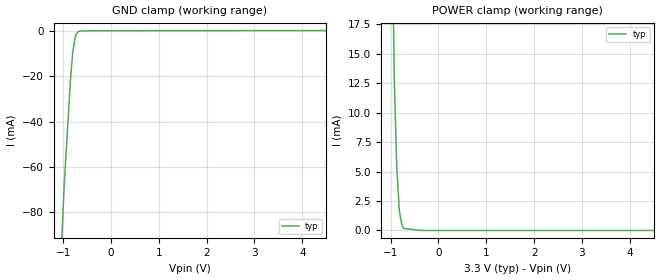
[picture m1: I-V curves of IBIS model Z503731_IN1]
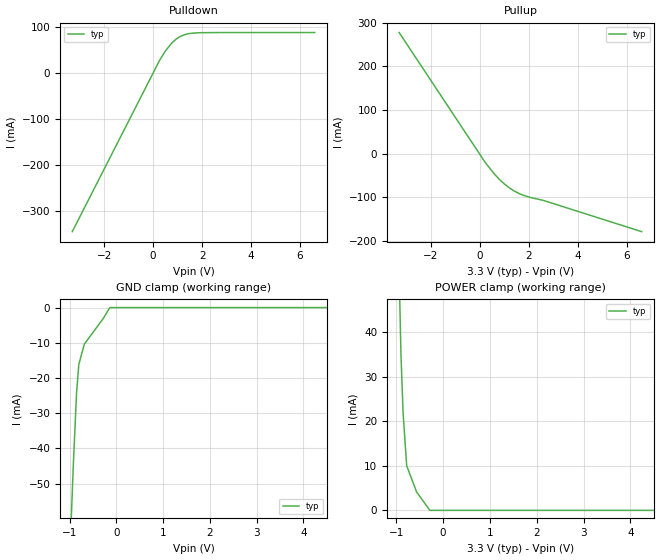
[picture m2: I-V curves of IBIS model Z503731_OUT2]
| YOU ARE ONLY AUTHORIZED TO USE THIS SOFTWARE
| ACCORDING TO LICENSOR'S LICENSE RESTRICTIONS.
[IBIS Ver] 3.1
[File Name] mc74ac14n_33.ibs
[File Rev] 2.0
[Source] Measured and created by ICX Technology
[Date] Friday 7/14/00 9:07:58 AM
[Copyright]
| (C) COPYRIGHT 1993-2000
| MENTOR GRAPHICS CORPORATION
| ICX STANDARD LIBRARY, ICX PROJECT MODELING,
| ICX CUSTOM MODELING, ICX VENDOR MODEL
| ALL RIGHTS RESERVED.
| THE FOLLOWING ARE TRADEMARKS OR SERVICE MARKS OF
| MENTOR GRAPHICS CORPORATION:ICX (R), ICX STANDARD
| LIBRARY(R), ICX PROJECT MODELING(R), ICX CUSTOM
| MODELING(R), qualityIBIS(TM), MODELVIEWER(TM),
| AND MODELEDITOR(TM)
| ALL COPIES OF SOFTWARE, INCLUDING BUT NOT LIMITED TO
| ANY MODIFICATIONS, ENHANCEMENTS OR DERIVATIVE WORKS,
| MUST CONTAIN ALL MENTOR GRAPHICS CORPORATION'S
| NOTICES AND LEGENDS, INCLUDING THOSE EMBEDDED IN
| SOFTWARE AND THOSE AFFIXED TO SOFTWARE MEDIUM
| AND CONTAINER, AS RECEIVED FROM MENTOR GRAPHICS
| CORPORATION.
|  ZAP Model Builder 2.7
[Component] MC74AC14N_33
[Manufacturer] OnSemiconductor
[Package]
| variable   typ   min   max
R_pkg  .21ohms NA NA
L_pkg  4.543nH NA NA
C_pkg  1.059pF NA NA
[Pin] signal_name  model_name  R_pin  L_pin C_pin
1 1A Z503731_IN1 .22 6.757n 1.432p
2 1Y Z503731_OUT2 .212 4.757n 1.142p
3 2A Z503731_IN1 .204 3.257n .852p
4 2Y Z503731_OUT2 .196 2.257n .562p
5 3A Z503731_IN1 .204 3.257n .852p
6 3Y Z503731_OUT2 .212 4.757n 1.142p
7 GND GND .22 6.757n 1.432p
8 4Y Z503731_OUT2 .22 6.757n 1.432p
9 4A Z503731_IN1 .212 4.757n 1.142p
10 5Y Z503731_OUT2 .204 3.257n .852p
11 5A Z503731_IN1 .196 2.257n .562p
12 6Y Z503731_OUT2 .204 3.257n .852p
13 6A Z503731_IN1 .212 4.757n 1.142p
14 VCC POWER .22 6.757n 1.432p
| Models and submodels in the file (2): Z503731_IN1 (Input), Z503731_OUT2 (Output)
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| (C) COPYRIGHT 1993-2000
| MENTOR GRAPHICS CORPORATION
| ICX STANDARD LIBRARY, ICX PROJECT MODELING,
| ICX CUSTOM MODELING, ICX VENDOR MODEL
| ALL RIGHTS RESERVED.
| THE FOLLOWING ARE TRADEMARKS OR SERVICE MARKS OF
| MENTOR GRAPHICS CORPORATION:ICX (R), ICX STANDARD
| LIBRARY(R), ICX PROJECT MODELING(R), ICX CUSTOM
| MODELING(R), qualityIBIS(TM), MODELVIEWER(TM),
| AND MODELEDITOR(TM)
| ALL COPIES OF SOFTWARE, INCLUDING BUT NOT LIMITED TO
| ANY MODIFICATIONS, ENHANCEMENTS OR DERIVATIVE WORKS,
| MUST CONTAIN ALL MENTOR GRAPHICS CORPORATION'S
| NOTICES AND LEGENDS, INCLUDING THOSE EMBEDDED IN
| SOFTWARE AND THOSE AFFIXED TO SOFTWARE MEDIUM
| AND CONTAINER, AS RECEIVED FROM MENTOR GRAPHICS
| CORPORATION.
| Model Application Version 1.89 2/18/99.
[Model] Z503731_IN1
Model_type Input
Vinl = 990.0mV
Vinh = 2.310V
C_comp 4.000pF NA NA
| variable typ   min   max
[Voltage Range] 3.300V NA NA
[GND Clamp Reference] 0.000V NA NA
[POWER Clamp Reference] 3.300V NA NA
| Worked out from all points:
|   GND clamp passes 1 mA (typ) near -0.71 V on its own axis
|   POWER clamp passes 1 mA (typ) near -0.79 V on its own axis
[GND Clamp]
-3.3V     -1.509A    NA         NA
-1.044V   -99.87mA   NA         NA
-976.3mV  -67.71mA   NA         NA
-845mV    -21.23mA   NA         NA
-800.3mV  -9.718mA   NA         NA
-748.4mV  -2.831mA   NA         NA
-731.6mV  -1.595mA   NA         NA
-667.9mV  -99.35uA   NA         NA
6.6V      243.3uA    NA         NA
[POWER Clamp]
-3.3V     1.643A     NA         NA
-1.128V   102mA      NA         NA
-1.015V   41.87mA    NA         NA
-924mV    13.05mA    NA         NA
-873mV    5.517mA    NA         NA
-819mV    1.742mA    NA         NA
-776mV    678.6uA    NA         NA
-738mV    183.8uA    NA         NA
-369mV    0A         NA         NA
6.6V      0A         NA         NA
| (C) COPYRIGHT 1993-2000
| MENTOR GRAPHICS CORPORATION
| ICX STANDARD LIBRARY, ICX PROJECT MODELING,
| ICX CUSTOM MODELING, ICX VENDOR MODEL
| ALL RIGHTS RESERVED.
| THE FOLLOWING ARE TRADEMARKS OR SERVICE MARKS OF
| MENTOR GRAPHICS CORPORATION:ICX (R), ICX STANDARD
| LIBRARY(R), ICX PROJECT MODELING(R), ICX CUSTOM
| MODELING(R), qualityIBIS(TM), MODELVIEWER(TM),
| AND MODELEDITOR(TM)
| ALL COPIES OF SOFTWARE, INCLUDING BUT NOT LIMITED TO
| ANY MODIFICATIONS, ENHANCEMENTS OR DERIVATIVE WORKS,
| MUST CONTAIN ALL MENTOR GRAPHICS CORPORATION'S
| NOTICES AND LEGENDS, INCLUDING THOSE EMBEDDED IN
| SOFTWARE AND THOSE AFFIXED TO SOFTWARE MEDIUM
| AND CONTAINER, AS RECEIVED FROM MENTOR GRAPHICS
| CORPORATION.
| Model Application Version 1.89 2/18/99.
[Model] Z503731_OUT2
Model_type Output
Vref=0.000V
Rref=500.0ohms
Cref=50.00pF
Vmeas=1.650V
C_comp 8.000pF NA NA
| variable typ   min   max
[Voltage Range] 3.300V NA NA
[POWER Clamp Reference] 3.300V NA NA
[Pullup Reference] 3.300V NA NA
[Pulldown Reference] 0.000V NA NA
[GND Clamp Reference] 0.000V NA NA
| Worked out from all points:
|   slope of the pulldown table from 0 to 0.495 V, typ, clamps not added: 10.4 ohm
|   slope of the pullup table from 0 to 0.495 V, typ, clamps not added: 13 ohm
|   GND clamp passes 1 mA (typ) near -0.18 V on its own axis
[GND Clamp]
-3.3V     -871.1mA   NA         NA
-917.4mV  -44.33mA   NA         NA
-849.2mV  -24.18mA   NA         NA
-800.4mV  -16.12mA   NA         NA
-683.3mV  -10.38mA   NA         NA
-277.7mV  -3.083mA   NA         NA
-138.9mV  0A         NA         NA
6.6V      0A         NA         NA
[Pulldown]
-3.3V     -345.7mA   NA         NA
274.1mV   28.9mA     NA         NA
475.8mV   46.3mA     NA         NA
718.7mV   63.04mA    NA         NA
947.3mV   74.31mA    NA         NA
1.196V    82.05mA    NA         NA
1.392V    85.46mA    NA         NA
1.866V    88.07mA    NA         NA
6.6V      88.56mA    NA         NA
[Pullup]
-3.3V     277.7mA    NA         NA
214mV     -19.78mA   NA         NA
605mV     -47.36mA   NA         NA
1V        -69.27mA   NA         NA
1.402V    -85.32mA   NA         NA
1.81V     -95.71mA   NA         NA
2.578V    -106.5mA   NA         NA
6.6V      -178.2mA   NA         NA
[POWER Clamp]
-3.3V     1.414A     NA         NA
-1.039V   98.8mA     NA         NA
-902mV    35mA       NA         NA
-857mV    21.9mA     NA         NA
-780mV    9.998mA    NA         NA
-567mV    4.111mA    NA         NA
-283.5mV  0A         NA         NA
6.6V      0A         NA         NA
[Ramp]
| variable typ min max
dV/dt_r 1.947/509.2p NA NA
dV/dt_f 1.947/493.6p NA NA
R_load = 500.0Ohms
